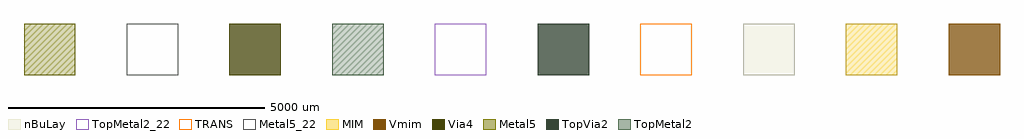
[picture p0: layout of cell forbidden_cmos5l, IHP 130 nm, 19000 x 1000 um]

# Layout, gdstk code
import gdstk
lib = gdstk.Library(unit=1e-6, precision=1e-09)
def R(c, l, rs):  # rectangles x0, y0, x1, y1
    for r in rs: c.add(gdstk.rectangle(r[:2], r[2:], *l))
TRANS = (26, 0)
nBuLay = (32, 0)
MIM = (36, 0)
Via4 = (66, 0)
Metal5 = (67, 0)
Metal5_22 = (67, 22)
Vmim = (129, 0)
TopVia2 = (133, 0)
TopMetal2 = (134, 0)
TopMetal2_22 = (134, 22)

forbidden_cmos5l = lib.new_cell('forbidden_cmos5l')
R(forbidden_cmos5l, TRANS, [(12000,0,13000,1000)])
R(forbidden_cmos5l, nBuLay, [(14000,0,15000,1000)])
R(forbidden_cmos5l, MIM, [(16000,0,17000,1000)])
R(forbidden_cmos5l, Via4, [(4000,0,5000,1000)])
R(forbidden_cmos5l, Metal5, [(0,0,1000,1000)])
R(forbidden_cmos5l, Metal5_22, [(2000,0,3000,1000)])
R(forbidden_cmos5l, Vmim, [(18000,0,19000,1000)])
R(forbidden_cmos5l, TopVia2, [(10000,0,11000,1000)])
R(forbidden_cmos5l, TopMetal2, [(6000,0,7000,1000)])
R(forbidden_cmos5l, TopMetal2_22, [(8000,0,9000,1000)])
forbidden_cmos5l.add(gdstk.Label('CMOS5L.FORB.Metal5', (500,1500), layer=11, texttype=222))
forbidden_cmos5l.add(gdstk.Label('CMOS5L.FORB.Metal5.filler', (2500,1500), layer=11, texttype=222))
forbidden_cmos5l.add(gdstk.Label('CMOS5L.FORB.Via4', (4500,1500), layer=11, texttype=222))
forbidden_cmos5l.add(gdstk.Label('CMOS5L.FORB.TopMetal2', (6500,1500), layer=11, texttype=222))
forbidden_cmos5l.add(gdstk.Label('CMOS5L.FORB.TopMetal2.filler', (8500,1500), layer=11, texttype=222))
forbidden_cmos5l.add(gdstk.Label('CMOS5L.FORB.TopVia2', (10500,1500), layer=11, texttype=222))
forbidden_cmos5l.add(gdstk.Label('CMOS5L.FORB.TRANS', (12500,1500), layer=11, texttype=222))
forbidden_cmos5l.add(gdstk.Label('CMOS5L.FORB.nBuLay', (14500,1500), layer=11, texttype=222))
forbidden_cmos5l.add(gdstk.Label('CMOS5L.FORB.MIM', (16500,1500), layer=11, texttype=222))
forbidden_cmos5l.add(gdstk.Label('CMOS5L.FORB.Vmim', (18500,1500), layer=11, texttype=222))

lib.write_gds('forbidden_cmos5l.gds')
